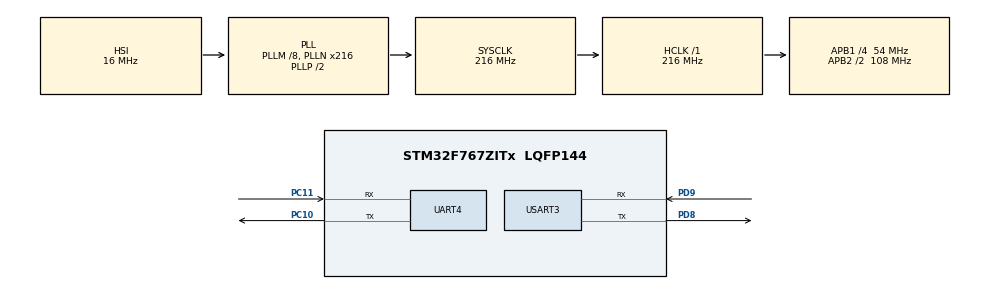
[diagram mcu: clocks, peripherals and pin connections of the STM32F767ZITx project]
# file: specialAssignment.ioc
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CORTEX_M7.default_mode_Activation=1
Mcu.Family=STM32F7
Mcu.Name=STM32F767ZITx
Mcu.Package=LQFP144
NVIC.PriorityGroup=NVIC_PRIORITYGROUP_4
NVIC.UART4_IRQn=true\:0\:0\:false\:false\:true\:true\:true\:true
NVIC.USART3_IRQn=true\:0\:0\:false\:false\:true\:true\:true\:true
PC10.Mode=Asynchronous
PC10.Signal=UART4_TX
PC11.Mode=Asynchronous
PC11.Signal=UART4_RX
PD8.Mode=Asynchronous
PD8.Signal=USART3_TX
PD9.Mode=Asynchronous
PD9.Signal=USART3_RX
ProjectManager.HeapSize=0x200
ProjectManager.StackSize=0x400
ProjectManager.TargetToolchain=STM32CubeIDE
RCC.AHBFreq_Value=216000000
RCC.APB1CLKDivider=RCC_HCLK_DIV4
RCC.APB1Freq_Value=54000000
RCC.APB1TimFreq_Value=108000000
RCC.APB2CLKDivider=RCC_HCLK_DIV2
RCC.APB2Freq_Value=108000000
RCC.APB2TimFreq_Value=216000000
RCC.CortexFreq_Value=216000000
RCC.HCLKFreq_Value=216000000
RCC.HSE_VALUE=25000000
RCC.HSI_VALUE=16000000
RCC.LSE_VALUE=32768
RCC.PLLM=8
RCC.PLLN=216
RCC.SYSCLKFreq_VALUE=216000000
RCC.SYSCLKSource=RCC_SYSCLKSOURCE_PLLCLK
RCC.USBFreq_Value=216000000
RCC.VCOOutputFreq_Value=432000000
USART3.VirtualMode-Asynchronous=VM_ASYNC
board=custom

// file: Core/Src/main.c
/* USER CODE BEGIN Header */
/**
  ******************************************************************************
  * @file           : main.c
  * @brief          : Main program body
  ******************************************************************************
  * @attention
  *
  * Copyright (c) 2026 STMicroelectronics.
  * All rights reserved.
  *
  * This software is licensed under terms that can be found in the LICENSE file
  * in the root directory of this software component.
  * If no LICENSE file comes with this software, it is provided AS-IS.
  *
  ******************************************************************************
  */
/* USER CODE END Header */
#include "main.h"
#include "usart.h"
#include "gpio.h"

/* USER CODE BEGIN Includes */
#include <stdio.h>
#include <string.h>
/* USER CODE END Includes */

/* USER CODE BEGIN PTD */
typedef enum
{
	ST_ASK_NAME = 0,
	ST_WAIT_PEER_NAME,
	ST_MY_TURN,
	ST_PEER_TURN,
	ST_DONE
} t_chat_state;
/* USER CODE END PTD */

/* USER CODE BEGIN PD */
#define LINE_BUF_SIZE	128U
#define	NAME_BUF_SIZE	32U

#define IS_INIT	0
//#define IS_INIT	1
/* USER CODE END PD */

/* USER CODE BEGIN PV */
//UART3 (Terminal)
static uint8_t					termRxByte;
static char						termLineBuf[LINE_BUF_SIZE];
static volatile uint16_t		termIdx = 0;
static volatile uint8_t			termLineReady = 0;

//UART4 (Link between MCUs)
static uint8_t					linkRxByte;
static char						linkLineBuf[LINE_BUF_SIZE];
static volatile uint16_t		linkIdx = 0;
static volatile uint8_t			linkLineReady = 0;

static char						myName[NAME_BUF_SIZE]   = {0};
static char						peerName[NAME_BUF_SIZE] = {0};

static volatile t_chat_state	chatState = ST_ASK_NAME;
/* USER CODE END PV */

void SystemClock_Config(void);
static void MPU_Config(void);
/* USER CODE BEGIN PFP */
static void	ChatPrint(const char *s);
static void ChatPrintPrompt(void);
static void EndChat(void);
/* USER CODE END PFP */

/* USER CODE BEGIN 0 */
//Helper for blocking transmit on UART3
static void ChatPrint(const char *s)
{
	HAL_UART_Transmit(&huart3, (uint8_t *)s, (uint16_t)strlen(s), HAL_MAX_DELAY);
}

//Print {myName} =>
static void ChatPrintPrompt(void)
{
  ChatPrint(myName);
  ChatPrint(" => ");
}

//Stop UART reception and notify
static void EndChat(void)
{
  HAL_UART_AbortReceive_IT(&huart3);
  HAL_UART_AbortReceive_IT(&huart4);
  ChatPrint("\r\n*** Communication is over!! ***\r\n");
  chatState = ST_DONE;
}

void HAL_UART_RxCpltCallback(UART_HandleTypeDef *huart)
{
	if (huart->Instance == USART3)
	{
		// no buffer
		if (chatState != ST_ASK_NAME && chatState != ST_MY_TURN)
		{
			termIdx = 0;
			termLineReady = 0;
			HAL_UART_Receive_IT(&huart3, &termRxByte, 1);
			return;
		}

		if (termRxByte == '\r' || termRxByte == '\n')
		{
			if (termIdx > 0)
			{
				termLineBuf[termIdx] = '\0';
				termIdx = 0;
				termLineReady = 1;
			}
			ChatPrint("\r\n");
		}
		else if (termRxByte == 0x08 || termRxByte == 0x7F) /* backspace */
		{
			if (termIdx > 0)
			{
				termIdx--;
				ChatPrint("\b \b");
			}
		}
		else
		{
			if (termIdx < (LINE_BUF_SIZE - 1))
			{
				termLineBuf[termIdx++] = (char)termRxByte;
				HAL_UART_Transmit(&huart3, &termRxByte, 1, HAL_MAX_DELAY); /* local echo */
			}
		}
		HAL_UART_Receive_IT(&huart3, &termRxByte, 1);
	}
	else if (huart->Instance == UART4)
	{
		// no buffer
		if (chatState != ST_WAIT_PEER_NAME && chatState != ST_PEER_TURN)
		{
			linkIdx = 0;
			linkLineReady = 0;
			HAL_UART_Receive_IT(&huart4, &linkRxByte, 1);
			return;
		}

		if (linkRxByte == '\r' || linkRxByte == '\n')
		{
			if (linkIdx > 0)
			{
				linkLineBuf[linkIdx] = '\0';
				linkIdx = 0;
				linkLineReady = 1;
			}
		}
		else
		{
			if (linkIdx < (LINE_BUF_SIZE - 1))
			{
				linkLineBuf[linkIdx++] = (char)linkRxByte;
			}
		}
		HAL_UART_Receive_IT(&huart4, &linkRxByte, 1);
	}
}

void HAL_UART_ErrorCallback(UART_HandleTypeDef *huart)
{
	if (huart->Instance == USART3)
	{
		__HAL_UART_CLEAR_OREFLAG(huart);
		HAL_UART_Receive_IT(&huart3, &termRxByte, 1);
	}
	else if (huart->Instance == UART4)
	{
		__HAL_UART_CLEAR_OREFLAG(huart);
		HAL_UART_Receive_IT(&huart4, &linkRxByte, 1);
	}
}
/* USER CODE END 0 */

int main(void)
{

  /* MPU Configuration--------------------------------------------------------*/
  MPU_Config();

  /* MCU Configuration--------------------------------------------------------*/

  /* Reset of all peripherals, Initializes the Flash interface and the Systick. */
  HAL_Init();

  /* Configure the system clock */
  SystemClock_Config();

  /* Initialize all configured peripherals */
  MX_GPIO_Init();
  MX_USART3_UART_Init();
  MX_UART4_Init();
  /* USER CODE BEGIN 2 */
  HAL_Delay(100); // รอจังหวะการเชื่อมต่อ Serial Port บน PC ให้พร้อม

#if IS_INIT
  ChatPrint("Man from U.A.R.T.1!\r\n");
  ChatPrint("Quit PRESS q\r\n");
  ChatPrint("\tName: ");
  chatState = ST_ASK_NAME;
#else
  ChatPrint("Man from U.A.R.T.2!\r\n");
  ChatPrint("Quit PRESS q\r\n");
  chatState = ST_WAIT_PEER_NAME;
#endif

  HAL_UART_Receive_IT(&huart3, &termRxByte, 1);
  HAL_UART_Receive_IT(&huart4, &linkRxByte, 1);
  /* USER CODE END 2 */

  /* Infinite loop */
  while (1)
  {

    /* USER CODE BEGIN 3 */
	switch(chatState)
	{
		case ST_ASK_NAME:
			if (termLineReady)
			{
				termLineReady = 0;
				strncpy(myName, termLineBuf, NAME_BUF_SIZE - 1);
				myName[NAME_BUF_SIZE - 1] = '\0';

				// Send Name to peer board
				HAL_UART_Transmit(&huart4, (uint8_t *)myName, (uint16_t)strlen(myName), HAL_MAX_DELAY);
				HAL_UART_Transmit(&huart4, (uint8_t *)"\r\n", 2, HAL_MAX_DELAY);

			#if IS_INIT
				chatState = ST_WAIT_PEER_NAME;
			#else
				chatState = ST_PEER_TURN;
			#endif
			}
			break;

		case ST_WAIT_PEER_NAME:
			if (linkLineReady)
			{
				linkLineReady = 0;
				strncpy(peerName, linkLineBuf, NAME_BUF_SIZE - 1);
				peerName[NAME_BUF_SIZE - 1] = '\0';

				ChatPrint(peerName);
				ChatPrint(" is ready\r\n");

			#if IS_INIT
				ChatPrintPrompt();
				chatState = ST_MY_TURN;
			#else
				ChatPrint("\tName: ");
				chatState = ST_ASK_NAME;
			#endif
			}
			break;

		case ST_MY_TURN:
			if (termLineReady)
			{
				termLineReady = 0;

				if (strcmp(termLineBuf, "q") == 0)
				{
					HAL_UART_Transmit(&huart4, (uint8_t *)"q\r\n", 3, HAL_MAX_DELAY);
					EndChat();
				}
				else
				{
					HAL_UART_Transmit(&huart4, (uint8_t *)termLineBuf, (uint16_t)strlen(termLineBuf), HAL_MAX_DELAY);
					HAL_UART_Transmit(&huart4, (uint8_t *)"\r\n", 2, HAL_MAX_DELAY);

					chatState = ST_PEER_TURN;
				}
			}
			break;

		case ST_PEER_TURN:
			if (linkLineReady)
			{
				linkLineReady = 0;
				if (strcmp(linkLineBuf, "q") == 0)
				{
					EndChat();
				}
				else
				{
					ChatPrint(peerName);
					ChatPrint(" : ");
					ChatPrint(linkLineBuf);
					ChatPrint("\r\n");
					ChatPrintPrompt();
					chatState = ST_MY_TURN;
				}
			}
			break;

		case ST_DONE:
		default:
			break;
	}
  }
  /* USER CODE END 3 */
}

void SystemClock_Config(void)
{
  RCC_OscInitTypeDef RCC_OscInitStruct = {0};
  RCC_ClkInitTypeDef RCC_ClkInitStruct = {0};

  /** Configure the main internal regulator output voltage
  */
  __HAL_RCC_PWR_CLK_ENABLE();
  __HAL_PWR_VOLTAGESCALING_CONFIG(PWR_REGULATOR_VOLTAGE_SCALE1);

  /** Initializes the RCC Oscillators according to the specified parameters
  * in the RCC_OscInitTypeDef structure.
  */
  RCC_OscInitStruct.OscillatorType = RCC_OSCILLATORTYPE_HSI;
  RCC_OscInitStruct.HSIState = RCC_HSI_ON;
  RCC_OscInitStruct.HSICalibrationValue = RCC_HSICALIBRATION_DEFAULT;
  RCC_OscInitStruct.PLL.PLLState = RCC_PLL_ON;
  RCC_OscInitStruct.PLL.PLLSource = RCC_PLLSOURCE_HSI;
  RCC_OscInitStruct.PLL.PLLM = 8;
  RCC_OscInitStruct.PLL.PLLN = 216;
  RCC_OscInitStruct.PLL.PLLP = RCC_PLLP_DIV2;
  RCC_OscInitStruct.PLL.PLLQ = 2;
  RCC_OscInitStruct.PLL.PLLR = 2;
  if (HAL_RCC_OscConfig(&RCC_OscInitStruct) != HAL_OK)
  {
    Error_Handler();
  }

  /** Activate the Over-Drive mode
  */
  if (HAL_PWREx_EnableOverDrive() != HAL_OK)
  {
    Error_Handler();
  }

  /** Initializes the CPU, AHB and APB buses clocks
  */
  RCC_ClkInitStruct.ClockType = RCC_CLOCKTYPE_HCLK|RCC_CLOCKTYPE_SYSCLK
                              |RCC_CLOCKTYPE_PCLK1|RCC_CLOCKTYPE_PCLK2;
  RCC_ClkInitStruct.SYSCLKSource = RCC_SYSCLKSOURCE_PLLCLK;
  RCC_ClkInitStruct.AHBCLKDivider = RCC_SYSCLK_DIV1;
  RCC_ClkInitStruct.APB1CLKDivider = RCC_HCLK_DIV4;
  RCC_ClkInitStruct.APB2CLKDivider = RCC_HCLK_DIV2;

  if (HAL_RCC_ClockConfig(&RCC_ClkInitStruct, FLASH_LATENCY_7) != HAL_OK)
  {
    Error_Handler();
  }
}

 /* MPU Configuration */

void MPU_Config(void)
{
  MPU_Region_InitTypeDef MPU_InitStruct = {0};

  /* Disables the MPU */
  HAL_MPU_Disable();

  /** Initializes and configures the Region and the memory to be protected
  */
  MPU_InitStruct.Enable = MPU_REGION_ENABLE;
  MPU_InitStruct.Number = MPU_REGION_NUMBER0;
  MPU_InitStruct.BaseAddress = 0x0;
  MPU_InitStruct.Size = MPU_REGION_SIZE_4GB;
  MPU_InitStruct.SubRegionDisable = 0x87;
  MPU_InitStruct.TypeExtField = MPU_TEX_LEVEL0;
  MPU_InitStruct.AccessPermission = MPU_REGION_NO_ACCESS;
  MPU_InitStruct.DisableExec = MPU_INSTRUCTION_ACCESS_DISABLE;
  MPU_InitStruct.IsShareable = MPU_ACCESS_SHAREABLE;
  MPU_InitStruct.IsCacheable = MPU_ACCESS_NOT_CACHEABLE;
  MPU_InitStruct.IsBufferable = MPU_ACCESS_NOT_BUFFERABLE;

  HAL_MPU_ConfigRegion(&MPU_InitStruct);
  /* Enables the MPU */
  HAL_MPU_Enable(MPU_PRIVILEGED_DEFAULT);

}

void Error_Handler(void)
{
  __disable_irq();
  while (1)
  {
  }
}
